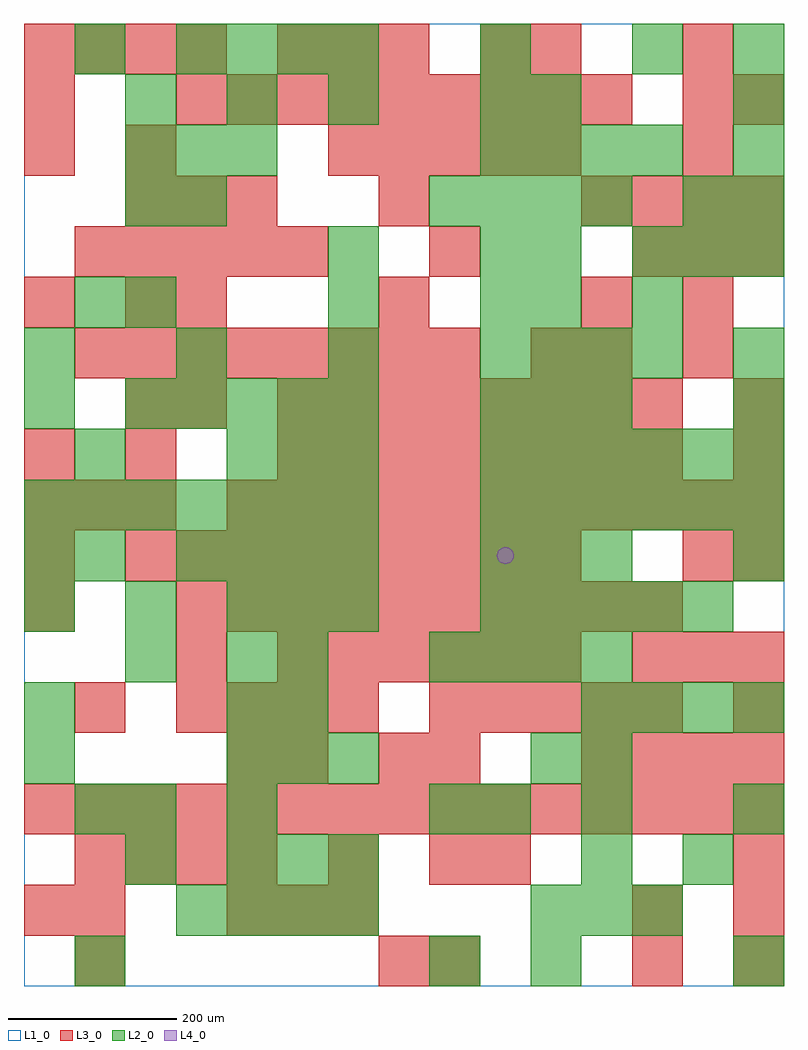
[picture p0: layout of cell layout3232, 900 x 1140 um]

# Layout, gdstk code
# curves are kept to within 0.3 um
import gdstk
lib = gdstk.Library(unit=1e-6, precision=1e-09)
def R(c, l, rs):  # rectangles x0, y0, x1, y1
    for r in rs: c.add(gdstk.rectangle(r[:2], r[2:], *l))
def A(c, l, x, y, w, h, nx, ny, dx, dy):  # array of equal rectangles
    R(c, l, [(x+i*dx, y+j*dy, x+i*dx+w, y+j*dy+h) for i in range(nx) for j in range(ny)])
def P(c, l, *ps):  # polygons
    for p in ps: c.add(gdstk.Polygon(p, *l))
L1_0 = (1, 0)
L2_0 = (2, 0)
L3_0 = (3, 0)
L4_0 = (4, 0)

layout3232 = lib.new_cell('layout3232')
R(layout3232, L1_0, [(0,0,900,1140)])
A(layout3232, L2_0, 180, 60, 60, 60, 4, 2, 60, 420)
A(layout3232, L2_0, 600, 60, 60, 60, 3, 2, 60, 660)
A(layout3232, L2_0, 240, 120, 60, 60, 3, 2, 60, 120)
A(layout3232, L2_0, 660, 120, 60, 60, 1, 3, 0, 60)
A(layout3232, L2_0, 0, 300, 60, 60, 1, 3, 0, 180)
A(layout3232, L2_0, 300, 300, 60, 60, 1, 3, 0, 60)
A(layout3232, L2_0, 660, 300, 60, 60, 4, 1, 60, 0)
A(layout3232, L2_0, 480, 360, 60, 60, 4, 2, 60, 540)
A(layout3232, L2_0, 0, 420, 60, 60, 3, 1, 120, 0)
A(layout3232, L2_0, 540, 420, 60, 60, 5, 1, 60, 0)
A(layout3232, L2_0, 540, 480, 60, 60, 3, 2, 60, 180)
A(layout3232, L2_0, 0, 540, 60, 60, 7, 1, 60, 0)
A(layout3232, L2_0, 540, 540, 60, 60, 6, 2, 60, 60)
A(layout3232, L2_0, 240, 600, 60, 60, 3, 1, 60, 0)
A(layout3232, L2_0, 120, 660, 60, 60, 5, 1, 60, 0)
A(layout3232, L2_0, 0, 720, 60, 60, 4, 1, 180, 0)
A(layout3232, L2_0, 720, 840, 60, 60, 3, 1, 60, 0)
A(layout3232, L2_0, 840, 900, 60, 60, 1, 4, 0, 60)
A(layout3232, L2_0, 120, 960, 60, 60, 3, 1, 60, 0)
A(layout3232, L2_0, 540, 960, 60, 60, 4, 1, 60, 0)
A(layout3232, L2_0, 120, 1020, 60, 60, 3, 1, 120, 0)
A(layout3232, L2_0, 180, 1080, 60, 60, 4, 1, 60, 0)
R(layout3232, L2_0, [(60,0,120,60), (480,0,540,60), (600,0,660,60), (840,0,900,60), (120,120,180,180), (780,120,840,180), (60,180,120,240), (120,180,180,240), (240,180,300,240), (480,180,540,240), (540,180,600,240), (840,180,900,240), (0,240,60,300), (600,240,660,300), (240,300,300,360), (120,360,180,420), (240,360,300,420), (360,420,420,480), (60,480,120,540), (840,480,900,540), (60,600,120,660), (840,660,900,720), (840,720,900,780), (60,780,120,840), (120,780,180,840), (360,780,420,840), (540,780,600,840), (600,780,660,840), (720,780,780,840), (360,840,420,900), (540,840,600,900), (600,840,660,900), (120,900,180,960), (180,900,240,960), (780,900,840,960), (540,1020,600,1080), (600,1020,660,1080), (60,1080,120,1140), (540,1080,600,1140), (720,1080,780,1140)])
A(layout3232, L3_0, 480, 0, 60, 60, 1, 3, 0, 120)
A(layout3232, L3_0, 840, 0, 60, 60, 1, 3, 0, 60)
A(layout3232, L3_0, 240, 60, 60, 60, 3, 1, 60, 0)
A(layout3232, L3_0, 60, 120, 60, 60, 4, 1, 60, 0)
A(layout3232, L3_0, 0, 180, 60, 60, 15, 1, 60, 0)
A(layout3232, L3_0, 660, 240, 60, 60, 4, 2, 60, 660)
A(layout3232, L3_0, 180, 300, 60, 60, 4, 1, 60, 0)
A(layout3232, L3_0, 480, 300, 60, 60, 5, 1, 60, 0)
A(layout3232, L3_0, 300, 360, 60, 60, 6, 1, 60, 0)
A(layout3232, L3_0, 720, 360, 60, 60, 3, 2, 60, 480)
A(layout3232, L3_0, 180, 420, 60, 60, 10, 1, 60, 0)
A(layout3232, L3_0, 120, 480, 60, 60, 9, 1, 60, 0)
A(layout3232, L3_0, 0, 540, 60, 60, 3, 1, 60, 0)
A(layout3232, L3_0, 240, 540, 60, 60, 11, 1, 60, 0)
A(layout3232, L3_0, 0, 600, 60, 60, 1, 3, 0, 180)
A(layout3232, L3_0, 300, 600, 60, 60, 8, 2, 60, 60)
A(layout3232, L3_0, 60, 720, 60, 60, 8, 1, 60, 0)
A(layout3232, L3_0, 180, 780, 60, 60, 3, 1, 240, 0)
A(layout3232, L3_0, 60, 840, 60, 60, 5, 1, 60, 0)
A(layout3232, L3_0, 120, 900, 60, 60, 3, 1, 60, 0)
A(layout3232, L3_0, 360, 960, 60, 60, 5, 1, 60, 0)
A(layout3232, L3_0, 780, 960, 60, 60, 1, 3, 0, 60)
A(layout3232, L3_0, 180, 1020, 60, 60, 9, 1, 60, 0)
A(layout3232, L3_0, 0, 1080, 60, 60, 4, 1, 60, 0)
A(layout3232, L3_0, 300, 1080, 60, 60, 3, 1, 60, 0)
R(layout3232, L3_0, [(60,0,120,60), (420,0,480,60), (720,0,780,60), (0,60,60,120), (60,60,120,120), (720,60,780,120), (360,120,420,180), (540,120,600,180), (240,240,300,300), (300,240,360,300), (420,240,480,300), (60,300,120,360), (840,300,900,360), (180,360,240,420), (0,420,60,480), (0,480,60,540), (780,480,840,540), (840,480,900,540), (120,600,180,660), (840,600,900,660), (120,660,180,720), (180,660,240,720), (840,660,900,720), (600,720,660,780), (660,720,720,780), (780,720,840,780), (120,780,180,840), (780,780,840,840), (480,840,540,900), (420,900,480,960), (120,960,180,1020), (0,1020,60,1080), (840,1020,900,1080), (540,1080,600,1140), (600,1080,660,1140)])
P(layout3232, L4_0, [(580,510),(579.239,513.827),(577.071,517.071),(573.827,519.239),(570,520),(566.173,519.239),(562.929,517.071),(560.761,513.827),(560,510),(560.761,506.173),(562.929,502.929),(566.173,500.761),(570,500),(573.827,500.761),(577.071,502.929),(579.239,506.173)])

lib.write_gds('layout3232.gds')
